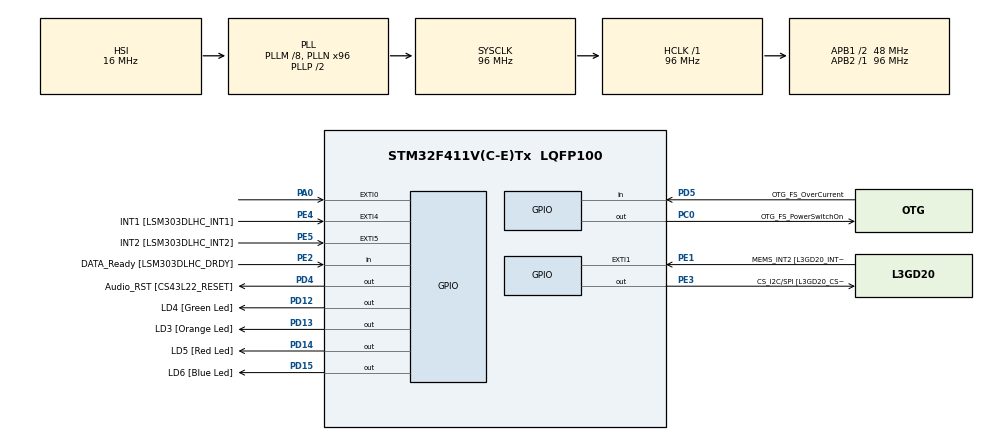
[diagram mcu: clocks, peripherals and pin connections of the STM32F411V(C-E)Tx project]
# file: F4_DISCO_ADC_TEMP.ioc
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ADC1.Channel-0\#ChannelRegularConversion=ADC_CHANNEL_TEMPSENSOR
ADC1.ClockPrescaler=ADC_CLOCK_SYNC_PCLK_DIV8
ADC1.ContinuousConvMode=ENABLE
ADC1.NbrOfConversionFlag=1
ADC1.Rank-0\#ChannelRegularConversion=1
ADC1.SamplingTime-0\#ChannelRegularConversion=ADC_SAMPLETIME_480CYCLES
ADC1.master=1
Mcu.Family=STM32F4
Mcu.Name=STM32F411V(C-E)Tx
Mcu.Package=LQFP100
NVIC.ADC_IRQn=true\:0\:0\:false\:false\:true\:true\:true\:true
NVIC.PriorityGroup=NVIC_PRIORITYGROUP_0
PA0-WKUP.GPIO_ModeDefaultEXTI=GPIO_MODE_EVT_RISING
PA0-WKUP.Signal=GPXTI0
PA10.GPIO_Label=OTG_FS_ID
PA10.Signal=USB_OTG_FS_ID
PA11.GPIO_Label=OTG_FS_DM
PA11.Signal=USB_OTG_FS_DM
PA12.GPIO_Label=OTG_FS_DP
PA12.Signal=USB_OTG_FS_DP
PA13.GPIO_Label=SWDIO
PA13.Mode=Serial_Wire
PA13.Signal=SYS_JTMS-SWDIO
PA14.GPIO_Label=SWCLK
PA14.Mode=Serial_Wire
PA14.Signal=SYS_JTCK-SWCLK
PA4.GPIO_Label=I2S3_WS [CS43L22_LRCK]
PA4.GPIO_Mode=GPIO_MODE_AF_PP
PA4.GPIO_PuPd=GPIO_NOPULL
PA4.GPIO_Speed=GPIO_SPEED_FREQ_LOW
PA4.Signal=I2S3_WS
PA5.GPIO_Label=SPI1_SCK [L3GD20_SC/SPC]
PA5.Signal=SPI1_SCK
PA6.GPIO_Label=SPI1_MISO [L3GD20_AS0/SDO]
PA6.Signal=SPI1_MISO
PA7.GPIO_Label=SPI1_MOSI [L3GD20_SDA/SDI/SDO]
PA7.Signal=SPI1_MOSI
PA9.GPIO_Label=VBUS_FS
PA9.Signal=USB_OTG_FS_VBUS
PB10.GPIO_Label=CLK_IN [MP45DT02_CLK]
PB10.Signal=I2S2_CK
PB12.Signal=I2S2_WS
PB3.GPIO_Label=SWO
PB3.Signal=SYS_JTDO-SWO
PB6.GPIO_Label=Audio_SCL [CS43L22_SCL]
PB6.GPIO_Mode=GPIO_MODE_AF_OD
PB6.GPIO_Pu=GPIO_PULLUP
PB6.GPIO_PuPd=GPIO_NOPULL
PB6.GPIO_Speed=GPIO_SPEED_FREQ_LOW
PB6.Signal=I2C1_SCL
PB9.GPIO_Label=Audio_SDA [CS43L22_SDA]
PB9.GPIO_Mode=GPIO_MODE_AF_OD
PB9.GPIO_Pu=GPIO_PULLUP
PB9.GPIO_PuPd=GPIO_NOPULL
PB9.GPIO_Speed=GPIO_SPEED_FREQ_LOW
PB9.Signal=I2C1_SDA
PC0.GPIO_Label=OTG_FS_PowerSwitchOn
PC0.PinState=GPIO_PIN_SET
PC0.Signal=GPIO_Output
PC10.GPIO_Label=I2S3_SCK [CS43L22_SCLK]
PC10.GPIO_Mode=GPIO_MODE_AF_PP
PC10.GPIO_PuPd=GPIO_NOPULL
PC10.GPIO_Speed=GPIO_SPEED_FREQ_LOW
PC10.Signal=I2S3_CK
PC12.GPIO_Label=I2S3_SD [CS43L22_SDIN]
PC12.GPIO_Mode=GPIO_MODE_AF_PP
PC12.GPIO_PuPd=GPIO_NOPULL
PC12.GPIO_Speed=GPIO_SPEED_FREQ_LOW
PC12.Signal=I2S3_SD
PC14-OSC32_IN.GPIO_Label=PC14-OSC32_IN
PC14-OSC32_IN.Mode=LSE-External-Oscillator
PC14-OSC32_IN.Signal=RCC_OSC32_IN
PC15-OSC32_OUT.GPIO_Label=PC15-OSC32_OUT
PC15-OSC32_OUT.Mode=LSE-External-Oscillator
PC15-OSC32_OUT.Signal=RCC_OSC32_OUT
PC3.GPIO_Label=PDM_OUT [MP45DT02_DOUT]
PC3.Signal=I2S2_SD
PC7.GPIO_Label=I2S3_MCK [CS43L22_MCLK]
PC7.GPIO_Mode=GPIO_MODE_AF_PP
PC7.GPIO_PuPd=GPIO_NOPULL
PC7.GPIO_Speed=GPIO_SPEED_FREQ_LOW
PC7.Signal=I2S3_MCK
PD12.GPIO_Label=LD4 [Green Led]
PD12.GPIO_PuPd=GPIO_NOPULL
PD12.GPIO_Speed=GPIO_SPEED_FREQ_LOW
PD12.Signal=GPIO_Output
PD13.GPIO_Label=LD3 [Orange Led]
PD13.GPIO_PuPd=GPIO_NOPULL
PD13.GPIO_Speed=GPIO_SPEED_FREQ_LOW
PD13.Signal=GPIO_Output
PD14.GPIO_Label=LD5 [Red Led]
PD14.GPIO_PuPd=GPIO_NOPULL
PD14.GPIO_Speed=GPIO_SPEED_FREQ_LOW
PD14.Signal=GPIO_Output
PD15.GPIO_Label=LD6 [Blue Led]
PD15.GPIO_PuPd=GPIO_NOPULL
PD15.GPIO_Speed=GPIO_SPEED_FREQ_LOW
PD15.Signal=GPIO_Output
PD4.GPIO_Label=Audio_RST [CS43L22_RESET]
PD4.Signal=GPIO_Output
PD5.GPIO_Label=OTG_FS_OverCurrent
PD5.Signal=GPIO_Input
PE1.GPIO_Label=MEMS_INT2 [L3GD20_INT2]
PE1.GPIO_ModeDefaultEXTI=GPIO_MODE_EVT_RISING
PE1.Signal=GPXTI1
PE2.GPIO_Label=DATA_Ready [LSM303DLHC_DRDY]
PE2.Signal=GPIO_Input
PE3.GPIO_Label=CS_I2C/SPI [L3GD20_CS_I2C/SPI]
PE3.Signal=GPIO_Output
PE4.GPIO_Label=INT1 [LSM303DLHC_INT1]
PE4.GPIO_ModeDefaultEXTI=GPIO_MODE_EVT_RISING
PE4.Signal=GPXTI4
PE5.GPIO_Label=INT2 [LSM303DLHC_INT2]
PE5.GPIO_ModeDefaultEXTI=GPIO_MODE_EVT_RISING
PE5.Signal=GPXTI5
PH0\ -\ OSC_IN.GPIO_Label=PH0-OSC_IN
PH0\ -\ OSC_IN.Mode=HSE-External-Clock-Source
PH0\ -\ OSC_IN.Signal=RCC_OSC_IN
PH1\ -\ OSC_OUT.GPIO_Label=PH1-OSC_OUT
PH1\ -\ OSC_OUT.Mode=HSE-External-Clock-Source
PH1\ -\ OSC_OUT.Signal=RCC_OSC_OUT
ProjectManager.HeapSize=0x200
ProjectManager.StackSize=0x400
ProjectManager.TargetToolchain=STM32CubeIDE
RCC.48MHZClocksFreq_Value=24000000
RCC.AHBFreq_Value=96000000
RCC.APB1CLKDivider=RCC_HCLK_DIV2
RCC.APB1Freq_Value=48000000
RCC.APB1TimFreq_Value=96000000
RCC.APB2Freq_Value=96000000
RCC.APB2TimFreq_Value=96000000
RCC.CortexFreq_Value=96000000
RCC.HCLKFreq_Value=96000000
RCC.HSE_VALUE=8000000
RCC.HSI_VALUE=16000000
RCC.PLLI2SM=5
RCC.PLLI2SN=200
RCC.PLLM=8
RCC.PLLN=96
RCC.PLLQ=8
RCC.SYSCLKFreq_VALUE=96000000
RCC.SYSCLKSource=RCC_SYSCLKSOURCE_PLLCLK
RCC.VCOOutputFreq_Value=192000000
VP_ADC1_TempSens_Input.Mode=IN-TempSens
board=STM32F411E-DISCO

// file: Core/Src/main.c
/* USER CODE BEGIN Header */
/**
  ******************************************************************************
  * @file           : main.c
  * @brief          : Main program body
  ******************************************************************************
  * @attention
  *
  * Copyright (c) 2023 STMicroelectronics.
  * All rights reserved.
  *
  * This software is licensed under terms that can be found in the LICENSE file
  * in the root directory of this software component.
  * If no LICENSE file comes with this software, it is provided AS-IS.
  *
  ******************************************************************************
  */
/* USER CODE END Header */
#include "main.h"
#include "adc.h"
#include "gpio.h"

/* USER CODE BEGIN PV */
uint16_t ADC_Meas;
float Temperature;
float Vsense;

const float T25 = 25.0;				// [°C]
const float V25 = 0.76;				// [V]
const float Avg_slope = 0.0025;		// [V/°C]
const float SupplyVoltage = 3.0;	// [V]
const float ADCResolution = 4095.0;
/* USER CODE END PV */

void SystemClock_Config(void);
/* USER CODE BEGIN PFP */
void HAL_ADC_ConvCpltCallback(ADC_HandleTypeDef* hadc);
/* USER CODE END PFP */

int main(void)
{

  /* MCU Configuration--------------------------------------------------------*/

  /* Reset of all peripherals, Initializes the Flash interface and the Systick. */
  HAL_Init();

  /* Configure the system clock */
  SystemClock_Config();

  /* Initialize all configured peripherals */
  MX_GPIO_Init();
  MX_ADC1_Init();
  /* USER CODE BEGIN 2 */
  HAL_ADC_Start_IT(&hadc1);
  /* USER CODE END 2 */

  /* Infinite loop */
  /* USER CODE BEGIN WHILE */
  while (1)
  {
	  if (Temperature < 30.0)
	  {
		  HAL_GPIO_WritePin(LD6_GPIO_Port, LD6_Pin, GPIO_PIN_RESET);
		  HAL_GPIO_WritePin(LD5_GPIO_Port, LD5_Pin, GPIO_PIN_SET);
	  }
	  else
	  {
		  HAL_GPIO_WritePin(LD6_GPIO_Port, LD6_Pin, GPIO_PIN_SET);
		  HAL_GPIO_WritePin(LD5_GPIO_Port, LD5_Pin, GPIO_PIN_RESET);
	  }
    /* USER CODE END WHILE */

  }
}

void SystemClock_Config(void)
{
  RCC_OscInitTypeDef RCC_OscInitStruct = {0};
  RCC_ClkInitTypeDef RCC_ClkInitStruct = {0};

  /** Configure the main internal regulator output voltage
  */
  __HAL_RCC_PWR_CLK_ENABLE();
  __HAL_PWR_VOLTAGESCALING_CONFIG(PWR_REGULATOR_VOLTAGE_SCALE1);

  /** Initializes the RCC Oscillators according to the specified parameters
  * in the RCC_OscInitTypeDef structure.
  */
  RCC_OscInitStruct.OscillatorType = RCC_OSCILLATORTYPE_HSI;
  RCC_OscInitStruct.HSIState = RCC_HSI_ON;
  RCC_OscInitStruct.HSICalibrationValue = RCC_HSICALIBRATION_DEFAULT;
  RCC_OscInitStruct.PLL.PLLState = RCC_PLL_ON;
  RCC_OscInitStruct.PLL.PLLSource = RCC_PLLSOURCE_HSI;
  RCC_OscInitStruct.PLL.PLLM = 8;
  RCC_OscInitStruct.PLL.PLLN = 96;
  RCC_OscInitStruct.PLL.PLLP = RCC_PLLP_DIV2;
  RCC_OscInitStruct.PLL.PLLQ = 8;
  if (HAL_RCC_OscConfig(&RCC_OscInitStruct) != HAL_OK)
  {
    Error_Handler();
  }

  /** Initializes the CPU, AHB and APB buses clocks
  */
  RCC_ClkInitStruct.ClockType = RCC_CLOCKTYPE_HCLK|RCC_CLOCKTYPE_SYSCLK
                              |RCC_CLOCKTYPE_PCLK1|RCC_CLOCKTYPE_PCLK2;
  RCC_ClkInitStruct.SYSCLKSource = RCC_SYSCLKSOURCE_PLLCLK;
  RCC_ClkInitStruct.AHBCLKDivider = RCC_SYSCLK_DIV1;
  RCC_ClkInitStruct.APB1CLKDivider = RCC_HCLK_DIV2;
  RCC_ClkInitStruct.APB2CLKDivider = RCC_HCLK_DIV1;

  if (HAL_RCC_ClockConfig(&RCC_ClkInitStruct, FLASH_LATENCY_3) != HAL_OK)
  {
    Error_Handler();
  }
}

/* USER CODE BEGIN 4 */
void HAL_ADC_ConvCpltCallback(ADC_HandleTypeDef* hadc)
{
	  ADC_Meas = HAL_ADC_GetValue(&hadc1);					// pobranie zmierzonej wartosci
	  Vsense = (SupplyVoltage * ADC_Meas) / ADCResolution;	// przeliczenie wartosci zmierzonej na napiecie
	  Temperature = ((Vsense - V25) / Avg_slope) + T25;		// obliczenie temperatury
}
/* USER CODE END 4 */

void Error_Handler(void)
{
  __disable_irq();
  while (1)
  {
  }
}
